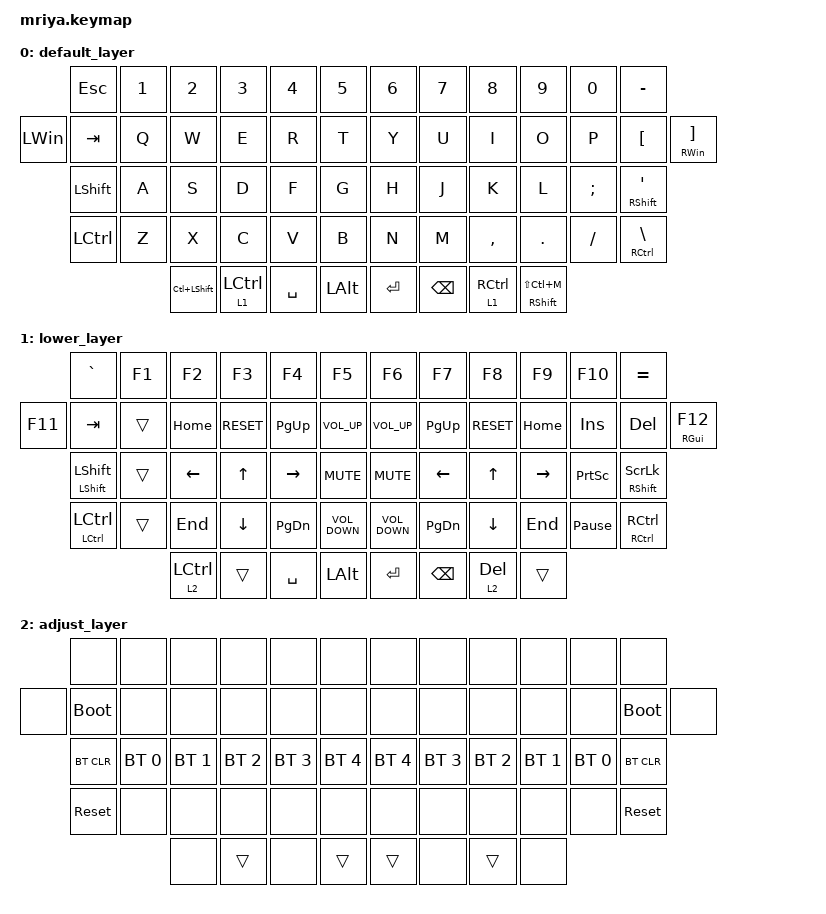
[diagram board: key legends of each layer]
/*
 * Copyright (c) 2023 Andrei Gaevskii
 *
 * SPDX-License-Identifier: MIT
 */

#include <behaviors.dtsi>
#include <dt-bindings/zmk/bt.h>
#include <dt-bindings/zmk/keys.h>

#define DEF 0
#define LWR 1
#define RSE 2
#define ADJ 3

&lt {
    quick_tap_ms = <200>;
};

&mt {
    quick_tap_ms = <200>;
};

/ {
    keymap {
        compatible = "zmk,keymap";

        default_layer {
            bindings = <
            &kp ESC  &kp N1         &kp N2       &kp N3     &kp N4    &kp N5       &kp N6         &kp N7               &kp N8                     &kp N9    &kp N0       &kp MINUS
&kp LWIN    &kp TAB   &kp Q          &kp W        &kp E      &kp R     &kp T        &kp Y          &kp U                &kp I                      &kp O     &kp P        &kp LBKT  &mt RWIN RBKT
          &kp LSHFT   &kp A          &kp S        &kp D      &kp F     &kp G        &kp H          &kp J                &kp K                      &kp L  &kp SEMI   &mt RSHFT SQT
          &kp LCTRL   &kp Z          &kp X        &kp C      &kp V     &kp B        &kp N          &kp M            &kp COMMA                    &kp DOT  &kp FSLH  &mt RCTRL BSLH
                             &kp LC(LSHFT)  &lt 1 LCTRL  &kp SPACE  &kp LALT    &kp ENTER  &kp BACKSPACE  &lt 1 RIGHT_CONTROL  &mt RIGHT_SHIFT LS(LC(M))
            >;
        };

        lower_layer {
            bindings = <
               &kp GRAVE  &kp F1       &kp F2       &kp F3         &kp F4             &kp F5               &kp F6         &kp F7        &kp F8     &kp F9          &kp F10             &kp EQUAL
&kp F11          &kp TAB  &trans     &kp HOME  &kp C_RESET      &kp PG_UP    &kp C_VOLUME_UP      &kp C_VOLUME_UP      &kp PG_UP   &kp C_RESET   &kp HOME       &kp INSERT            &kp DELETE  &mt RGUI F12
         &mt LSHFT LSHFT  &trans     &kp LEFT       &kp UP      &kp RIGHT         &kp K_MUTE           &kp K_MUTE       &kp LEFT  &kp UP_ARROW  &kp RIGHT  &kp PRINTSCREEN  &mt RSHFT SCROLLLOCK
         &mt LCTRL LCTRL  &trans      &kp END     &kp DOWN  &kp PAGE_DOWN  &kp C_VOLUME_DOWN    &kp C_VOLUME_DOWN  &kp PAGE_DOWN      &kp DOWN    &kp END  &kp PAUSE_BREAK       &mt RCTRL RCTRL
                                  &lt 2 LCTRL       &trans      &kp SPACE           &kp LALT            &kp ENTER  &kp BACKSPACE     &lt 2 DEL     &trans
            >;
        };

        adjust_layer {
            bindings = <
             &none         &none         &none         &none         &none         &none           &none         &none         &none         &none         &none        &none
&none  &bootloader         &none         &none         &none         &none         &none           &none         &none         &none         &none         &none  &bootloader  &none
        &bt BT_CLR  &bt BT_SEL 0  &bt BT_SEL 1  &bt BT_SEL 2  &bt BT_SEL 3  &bt BT_SEL 4    &bt BT_SEL 4  &bt BT_SEL 3  &bt BT_SEL 2  &bt BT_SEL 1  &bt BT_SEL 0   &bt BT_CLR
        &sys_reset         &none         &none         &none         &none         &none           &none         &none         &none         &none         &none   &sys_reset
                                         &none        &trans         &none        &trans          &trans         &none        &trans         &none
            >;
        };
    };
};
